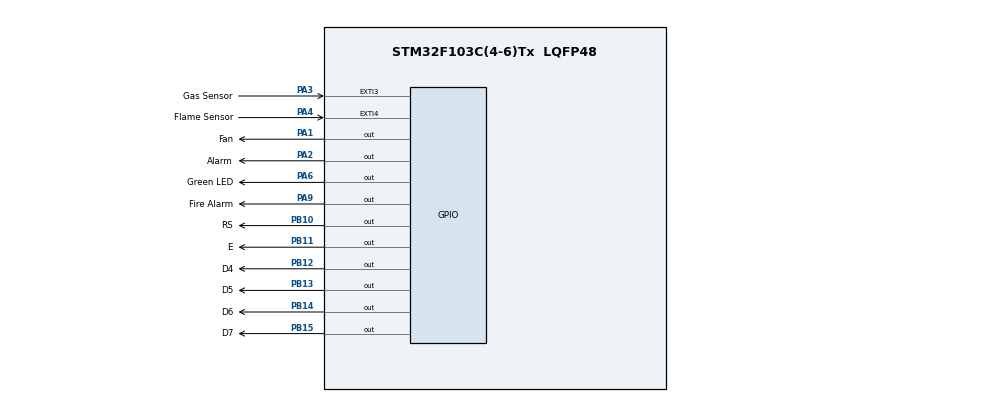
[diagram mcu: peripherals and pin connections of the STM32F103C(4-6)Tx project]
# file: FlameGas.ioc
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Mcu.Family=STM32F1
Mcu.Name=STM32F103C(4-6)Tx
Mcu.Package=LQFP48
NVIC.EXTI3_IRQn=true\:0\:0\:false\:false\:true\:true\:true\:true
NVIC.PriorityGroup=NVIC_PRIORITYGROUP_4
PA1.GPIO_Label=Fan
PA1.Signal=GPIO_Output
PA2.GPIO_Label=Alarm
PA2.Signal=GPIO_Output
PA3.GPIO_Label=Gas Sensor
PA3.Signal=GPXTI3
PA4.GPIO_Label=Flame Sensor
PA4.Signal=GPXTI4
PA6.GPIO_Label=Green LED
PA6.Signal=GPIO_Output
PA9.GPIO_Label=Fire Alarm
PA9.Signal=GPIO_Output
PB10.GPIO_Label=RS
PB10.Signal=GPIO_Output
PB11.GPIO_Label=E
PB11.Signal=GPIO_Output
PB12.GPIO_Label=D4
PB12.Signal=GPIO_Output
PB13.GPIO_Label=D5
PB13.Signal=GPIO_Output
PB14.GPIO_Label=D6
PB14.Signal=GPIO_Output
PB15.GPIO_Label=D7
PB15.Signal=GPIO_Output
PD0-OSC_IN.Mode=HSE-External-Oscillator
PD0-OSC_IN.Signal=RCC_OSC_IN
PD1-OSC_OUT.Mode=HSE-External-Oscillator
PD1-OSC_OUT.Signal=RCC_OSC_OUT
ProjectManager.HeapSize=0x200
ProjectManager.StackSize=0x400
ProjectManager.TargetToolchain=MDK-ARM V5.32
RCC.APB1Freq_Value=8000000
RCC.APB2Freq_Value=8000000
VP_SYS_VS_ND.Mode=No_Debug
VP_TIM2_VS_ClockSourceINT.Mode=Internal
board=custom

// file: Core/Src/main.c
/* USER CODE BEGIN Header */
/**
  ******************************************************************************
  * @file           : main.c
  * @brief          : Main program body
  ******************************************************************************
  * @attention
  *
  * Copyright (c) 2023 STMicroelectronics.
  * All rights reserved.
  *
  * This software is licensed under terms that can be found in the LICENSE file
  * in the root directory of this software component.
  * If no LICENSE file comes with this software, it is provided AS-IS.
  *
  ******************************************************************************
  */
/* USER CODE END Header */
#include "main.h"
#include "stdio.h"
#include "lcd_txt.h"

TIM_HandleTypeDef htim2;

void SystemClock_Config(void);
static void MX_GPIO_Init(void);
static void MX_TIM2_Init(void);

int main(void)
{

  /* MCU Configuration--------------------------------------------------------*/

  /* Reset of all peripherals, Initializes the Flash interface and the Systick. */
  HAL_Init();

  /* Configure the system clock */
  SystemClock_Config();

  /* Initialize all configured peripherals */
  MX_GPIO_Init();
  MX_TIM2_Init();
  /* USER CODE BEGIN 2 */
	lcd_init();
  /* USER CODE END 2 */

  /* Infinite loop */
  /* USER CODE BEGIN WHILE */
  while (1)
  {
		if(HAL_GPIO_ReadPin(GPIOA, GPIO_PIN_3)) // if the pin is HIGH
		{
			HAL_GPIO_WritePin(GPIOA, GPIO_PIN_2, 0);
			HAL_GPIO_WritePin(GPIOA, GPIO_PIN_1, 0);
			lcd_puts(0, 0, (int8_t*)"GAS DETECTED: Y");
			lcd_puts(1, 0, (int8_t*)"FAN ACTIVATED! ");
		}
		else if(!HAL_GPIO_ReadPin(GPIOA, GPIO_PIN_3)){
			HAL_GPIO_WritePin(GPIOA, GPIO_PIN_2, 1);
			HAL_GPIO_WritePin(GPIOA, GPIO_PIN_1, 1);
			lcd_puts(0, 0, (int8_t*)"GAS DETECTED: N");
			lcd_puts(1, 0, (int8_t*)"FAN NOT ACTIVE!");
		}

		if(HAL_GPIO_ReadPin(GPIOA, GPIO_PIN_4))
		{
			HAL_GPIO_WritePin(GPIOA, GPIO_PIN_9, 0);
			lcd_puts(2, 0, (int8_t*)"FIRE DETECTED: Y");
		}
		else if(!HAL_GPIO_ReadPin(GPIOA, GPIO_PIN_4))
		{
			HAL_GPIO_WritePin(GPIOA, GPIO_PIN_9, 1);
			lcd_puts(2, 0, (int8_t*)"FIRE DETECTED: N");
		}

    /* USER CODE END WHILE */

  }
}

void SystemClock_Config(void)
{
  RCC_OscInitTypeDef RCC_OscInitStruct = {0};
  RCC_ClkInitTypeDef RCC_ClkInitStruct = {0};

  /** Initializes the RCC Oscillators according to the specified parameters
  * in the RCC_OscInitTypeDef structure.
  */
  RCC_OscInitStruct.OscillatorType = RCC_OSCILLATORTYPE_HSI;
  RCC_OscInitStruct.HSIState = RCC_HSI_ON;
  RCC_OscInitStruct.HSICalibrationValue = RCC_HSICALIBRATION_DEFAULT;
  RCC_OscInitStruct.PLL.PLLState = RCC_PLL_NONE;
  if (HAL_RCC_OscConfig(&RCC_OscInitStruct) != HAL_OK)
  {
    Error_Handler();
  }

  /** Initializes the CPU, AHB and APB buses clocks
  */
  RCC_ClkInitStruct.ClockType = RCC_CLOCKTYPE_HCLK|RCC_CLOCKTYPE_SYSCLK
                              |RCC_CLOCKTYPE_PCLK1|RCC_CLOCKTYPE_PCLK2;
  RCC_ClkInitStruct.SYSCLKSource = RCC_SYSCLKSOURCE_HSI;
  RCC_ClkInitStruct.AHBCLKDivider = RCC_SYSCLK_DIV1;
  RCC_ClkInitStruct.APB1CLKDivider = RCC_HCLK_DIV1;
  RCC_ClkInitStruct.APB2CLKDivider = RCC_HCLK_DIV1;

  if (HAL_RCC_ClockConfig(&RCC_ClkInitStruct, FLASH_LATENCY_0) != HAL_OK)
  {
    Error_Handler();
  }
}

static void MX_TIM2_Init(void)
{

  TIM_ClockConfigTypeDef sClockSourceConfig = {0};
  TIM_MasterConfigTypeDef sMasterConfig = {0};

  htim2.Instance = TIM2;
  htim2.Init.Prescaler = 0;
  htim2.Init.CounterMode = TIM_COUNTERMODE_UP;
  htim2.Init.Period = 65535;
  htim2.Init.ClockDivision = TIM_CLOCKDIVISION_DIV1;
  htim2.Init.AutoReloadPreload = TIM_AUTORELOAD_PRELOAD_DISABLE;
  if (HAL_TIM_Base_Init(&htim2) != HAL_OK)
  {
    Error_Handler();
  }
  sClockSourceConfig.ClockSource = TIM_CLOCKSOURCE_INTERNAL;
  if (HAL_TIM_ConfigClockSource(&htim2, &sClockSourceConfig) != HAL_OK)
  {
    Error_Handler();
  }
  sMasterConfig.MasterOutputTrigger = TIM_TRGO_RESET;
  sMasterConfig.MasterSlaveMode = TIM_MASTERSLAVEMODE_DISABLE;
  if (HAL_TIMEx_MasterConfigSynchronization(&htim2, &sMasterConfig) != HAL_OK)
  {
    Error_Handler();
  }

}

static void MX_GPIO_Init(void)
{
  GPIO_InitTypeDef GPIO_InitStruct = {0};

  /* GPIO Ports Clock Enable */
  __HAL_RCC_GPIOD_CLK_ENABLE();
  __HAL_RCC_GPIOA_CLK_ENABLE();
  __HAL_RCC_GPIOB_CLK_ENABLE();

  /*Configure GPIO pin Output Level */
  HAL_GPIO_WritePin(GPIOA, Fan_Pin|Alarm_Pin|Green_LED_Pin|Fire_Alarm_Pin, GPIO_PIN_RESET);

  /*Configure GPIO pin Output Level */
  HAL_GPIO_WritePin(GPIOB, RS_Pin|E_Pin|D4_Pin|D5_Pin
                          |D6_Pin|D7_Pin, GPIO_PIN_RESET);

  /*Configure GPIO pins : Fan_Pin Alarm_Pin Green_LED_Pin Fire_Alarm_Pin */
  GPIO_InitStruct.Pin = Fan_Pin|Alarm_Pin|Green_LED_Pin|Fire_Alarm_Pin;
  GPIO_InitStruct.Mode = GPIO_MODE_OUTPUT_PP;
  GPIO_InitStruct.Pull = GPIO_NOPULL;
  GPIO_InitStruct.Speed = GPIO_SPEED_FREQ_LOW;
  HAL_GPIO_Init(GPIOA, &GPIO_InitStruct);

  /*Configure GPIO pins : Gas_Sensor_Pin Flame_Sensor_Pin */
  GPIO_InitStruct.Pin = Gas_Sensor_Pin|Flame_Sensor_Pin;
  GPIO_InitStruct.Mode = GPIO_MODE_IT_RISING;
  GPIO_InitStruct.Pull = GPIO_NOPULL;
  HAL_GPIO_Init(GPIOA, &GPIO_InitStruct);

  /*Configure GPIO pins : RS_Pin E_Pin D4_Pin D5_Pin
                           D6_Pin D7_Pin */
  GPIO_InitStruct.Pin = RS_Pin|E_Pin|D4_Pin|D5_Pin
                          |D6_Pin|D7_Pin;
  GPIO_InitStruct.Mode = GPIO_MODE_OUTPUT_PP;
  GPIO_InitStruct.Pull = GPIO_NOPULL;
  GPIO_InitStruct.Speed = GPIO_SPEED_FREQ_LOW;
  HAL_GPIO_Init(GPIOB, &GPIO_InitStruct);

  /* EXTI interrupt init*/
  HAL_NVIC_SetPriority(EXTI3_IRQn, 0, 0);
  HAL_NVIC_EnableIRQ(EXTI3_IRQn);

}

/* USER CODE BEGIN 4 */
void HAL_GPIO_EXTI_Callback(uint16_t GPIO_Pin)
{
  if (GPIO_Pin == GPIO_PIN_3)
  {
    HAL_GPIO_TogglePin(GPIOA, GPIO_PIN_6);
  }
}
/* USER CODE END 4 */

void Error_Handler(void)
{
  __disable_irq();
  while (1)
  {
  }
}
